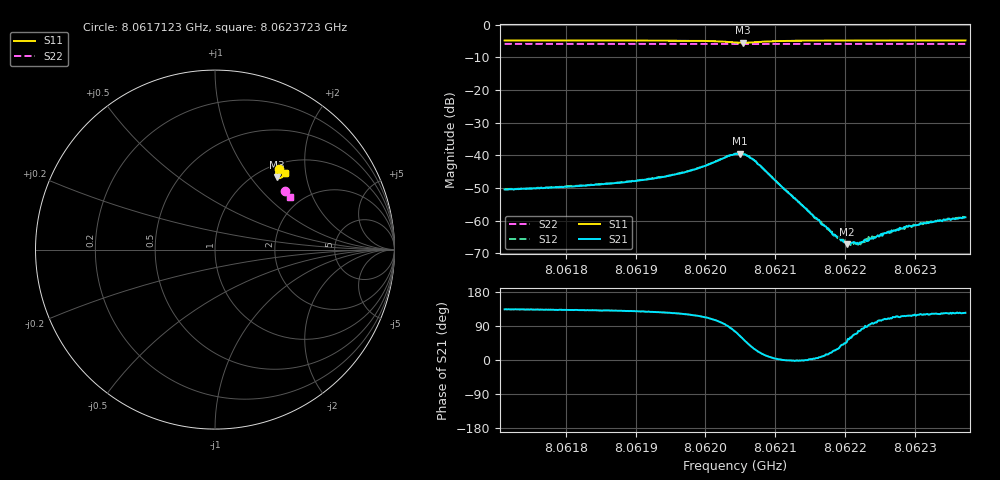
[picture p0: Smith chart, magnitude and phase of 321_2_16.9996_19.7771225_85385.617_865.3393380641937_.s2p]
#  HZ  S  RI  R  50.00
! Rohde & Schwarz Vector Network Analyzer
! Rohde-Schwarz,ZNB20-2Port,1311601062101988,3.16
! Created: UTC 3/20/2024, 11:06:25 PM
! freq[Hz]  re:S11  im:S11  re:S21  im:S21  re:S12  im:S12  re:S22  im:S22
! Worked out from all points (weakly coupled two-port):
!   401 points, 8.0617123 GHz to 8.0623723 GHz, reference 50 ohm
!   highest |S21| = -39.52 dB at 8.0620489 GHz (marker M1); lowest = -67.3 dB at 8.0622024 GHz (marker M2)
!   lowest |S11| = -5.5 dB at 8.0620538 GHz (marker M3), VSWR 3.26, Z = 60.9 + j68.3 ohm
!   |S11| at or under -10 dB: nowhere
!   |S22| runs from -5.9 to -5.8 dB; largest |S21 - S12| = 0.00088
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8.06171226e9  0.3591 0.4503  -0.00207 0.00217  -0.00193 0.00228  0.3916 0.3275
8.06182282e9  0.3667 0.4437  -0.00228 0.00253  -0.00214 0.00272  0.3958 0.322
8.06188058e9  0.371 0.4396  -0.00246 0.00295  -0.0023 0.00314  0.3981 0.319
8.06193338e9  0.3756 0.4342  -0.00269 0.00367  -0.00247 0.0039  0.4 0.3164
8.06198288e9  0.3797 0.4248  -0.00286 0.00529  -0.00254 0.00548  0.4019 0.3136
8.06204229e9  0.361 0.398  0.00265 0.0101  0.00347 0.01  0.4027 0.3099
8.06204889e9  0.3525 0.3991  0.00456 0.00954  0.00523 0.00933  0.4026 0.3098
8.06205384e9  0.3464 0.4025  0.00587 0.00859  0.0065 0.0082  0.4023 0.3099
8.06206209e9  0.34 0.4117  0.00717 0.0063  0.00777 0.0059  0.4027 0.3099
8.06207034e9  0.339 0.4217  0.00729 0.00397  0.00751 0.00345  0.403 0.3099
8.06215285e9  0.3682 0.4384  0.00123 4e-05  0.00127 -3.97e-05  0.4074 0.3063
8.06216275e9  0.3699 0.4378  0.00101 0.00013  0.00103 6.01e-05  0.4078 0.306
8.06218585e9  0.3733 0.4362  0.00054 0.000259  0.000542 0.000241  0.4087 0.3047
8.0621941e9  0.3742 0.4358  0.000385 0.000307  0.000476 0.000288  0.4091 0.3044
8.06220235e9  0.3752 0.4353  0.000294 0.000314  0.000328 0.000377  0.4093 0.3039
8.06220895e9  0.3759 0.4348  0.000237 0.00039  0.00022 0.000339  0.4095 0.3034
8.06221885e9  0.377 0.4341  0.000101 0.00042  0.000146 0.000403  0.41 0.3029
8.062237e9  0.3787 0.4332  -5.2e-05 0.000526  -2.72e-05 0.000521  0.4106 0.302
8.06226341e9  0.381 0.4316  -0.000204 0.000609  -0.000213 0.000648  0.4117 0.3006
8.06228816e9  0.3829 0.4301  -0.00036 0.000728  -0.000334 0.000757  0.4125 0.2995
8.06231951e9  0.3852 0.4283  -0.000451 0.000796  -0.000448 0.000809  0.4134 0.2979
8.06237231e9  0.3888 0.4255  -0.000635 0.000924  -0.000583 0.000989  0.4155 0.2951
